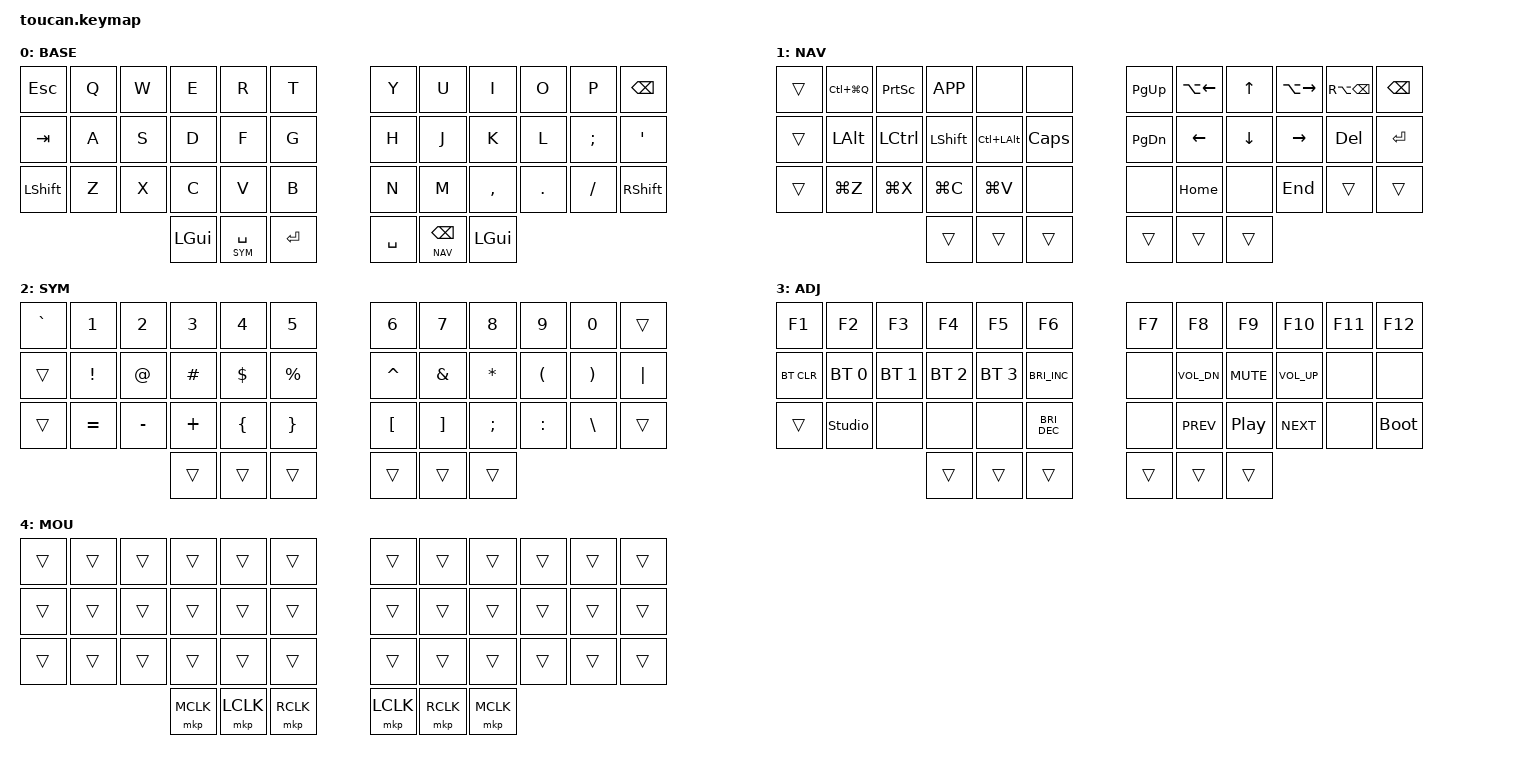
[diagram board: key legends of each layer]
#include <behaviors.dtsi>
#include <dt-bindings/zmk/bt.h>
#include <dt-bindings/zmk/keys.h>
#include <dt-bindings/zmk/pointing.h>

#define BASE 0
#define NAV  1
#define SYM  2
#define ADJ  3

&sk {
    release-after-ms = <1500>;
    quick-release;
};

/ {
    conditional_layers {
        compatible = "zmk,conditional-layers";

        tri_layer {
            if-layers = <NAV SYM>;
            then-layer = <ADJ>;
        };
    };

    combos {
        compatible = "zmk,combos";

        ctrl_l {
            key-positions = <14 15>; // S + D
            bindings = <&kp LCTRL>;
        };

        opt_l {
            key-positions = <15 16>; // D + F
            bindings = <&kp LALT>;
        };

        ctrl_opt_l {
            key-positions = <14 15 16>; // S + D + F
            bindings = <&kp LC(LALT)>;
        };

        opt_r {
            key-positions = <19 20>; // J + K
            bindings = <&kp RALT>;
        };

        ctrl_r {
            key-positions = <20 21>; // K + L
            bindings = <&kp RCTRL>;
        };

        ctrl_opt_r {
            key-positions = <19 20 21>; // J + K + L
            bindings = <&kp RA(RCTRL)>;
        };
    };

    keymap {
        compatible = "zmk,keymap";

        base {
            display-name = "BASE";
            bindings = <
                &kp ESC   &kp Q &kp W &kp E &kp R &kp T   &kp Y &kp U  &kp I     &kp O   &kp P    &kp BSPC
                &kp TAB   &kp A &kp S &kp D &kp F &kp G   &kp H &kp J  &kp K     &kp L   &kp SEMI &kp SQT
                &kp LSHFT &kp Z &kp X &kp C &kp V &kp B   &kp N &kp M  &kp COMMA &kp DOT &kp FSLH &kp RSHFT
                          &kp LGUI &lt SYM SPACE &kp ENTER   &kp SPACE &lt NAV BSPC &kp LGUI
            >;
        };

        nav {
            display-name = "NAV";
            bindings = <
                &trans &kp LC(LG(Q)) &kp PSCRN &kp K_APP &none         &none      &kp PG_UP &kp LA(LEFT) &kp UP   &kp LA(RIGHT) &kp RA(BSPC) &kp BSPC
                &trans &kp LALT      &kp LCTRL &kp LSHFT &kp LC(LALT)  &kp CAPS   &kp PG_DN &kp LEFT     &kp DOWN &kp RIGHT     &kp DEL      &kp ENTER
                &trans &kp LG(Z)     &kp LG(X) &kp LG(C) &kp LG(V)     &none      &none     &kp HOME     &none    &kp END       &trans       &trans
                                               &trans    &trans        &trans     &trans    &trans       &trans
            >;
        };

        sym {
            display-name = "SYM";
            bindings = <
                &kp GRAVE &kp N1    &kp N2    &kp N3   &kp N4   &kp N5      &kp N6    &kp N7   &kp N8   &kp N9    &kp N0   &trans
                &trans    &kp EXCL  &kp AT    &kp HASH &kp DLLR &kp PRCNT   &kp CARET &kp AMPS &kp STAR &kp LPAR  &kp RPAR &kp PIPE
                &trans    &kp EQUAL &kp MINUS &kp PLUS &kp LBRC &kp RBRC    &kp LBKT  &kp RBKT &kp SEMI &kp COLON &kp BSLH &trans
                                              &trans   &trans   &trans      &trans    &trans   &trans
            >;
        };

        adj {
            display-name = "ADJ";
            bindings = <
                &kp F1     &kp F2         &kp F3       &kp F4       &kp F5       &kp F6          &kp F7 &kp F8       &kp F9     &kp F10      &kp F11 &kp F12
                &bt BT_CLR &bt BT_SEL 0   &bt BT_SEL 1 &bt BT_SEL 2 &bt BT_SEL 3 &kp C_BRI_INC   &none  &kp C_VOL_DN &kp C_MUTE &kp C_VOL_UP &none   &none
                &trans     &studio_unlock &none        &none        &none        &kp C_BRI_DEC   &none  &kp C_PREV   &kp C_PP   &kp C_NEXT   &none   &bootloader
                                                       &trans       &trans       &trans          &trans &trans       &trans
            >;
        };

        mouse {
            display-name = "MOU";
            bindings = <
                &trans &trans &trans &trans &trans &trans           &trans &trans &trans &trans &trans &trans
                &trans &trans &trans &trans &trans &trans           &trans &trans &trans &trans &trans &trans
                &trans &trans &trans &trans &trans &trans           &trans &trans &trans &trans &trans &trans
                            &mkp MCLK &mkp LCLK &mkp RCLK           &mkp LCLK &mkp RCLK &mkp MCLK
            >;
        };

        extra_2 {
                status = "reserved";
        };

        extra_3 {
                status = "reserved";
        };
    };
};
